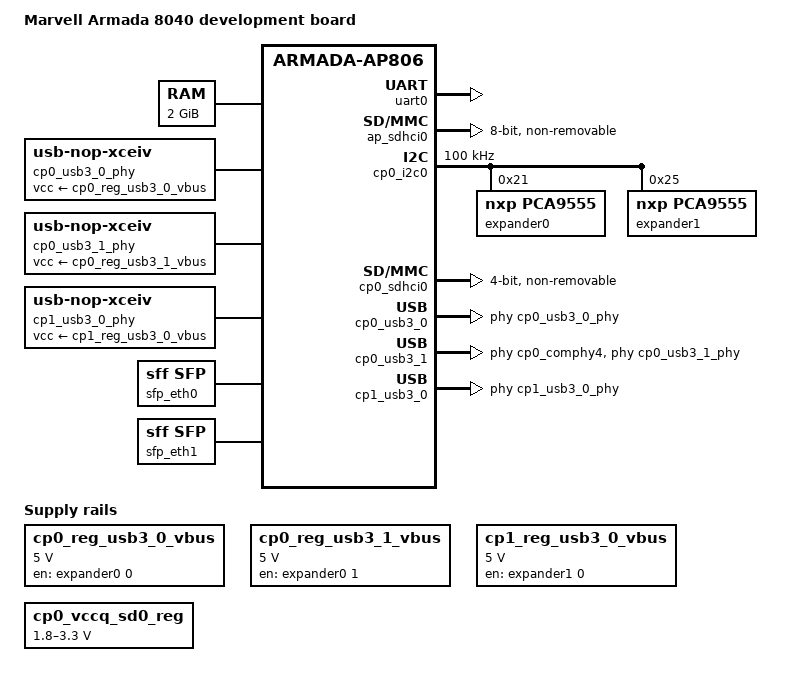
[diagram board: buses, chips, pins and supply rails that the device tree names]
// SPDX-License-Identifier: (GPL-2.0+ OR MIT)
/*
 * Device Tree file for Marvell Armada 8040 development board platform
 */

#include <dt-bindings/gpio/gpio.h>
#include "armada-8040.dtsi"

/ {
	model = "Marvell Armada 8040 development board";
	compatible = "marvell,armada8040-db", "marvell,armada8040",
		"marvell,armada-ap806-quad", "marvell,armada-ap806";

	memory@0 {
		device_type = "memory";
		reg = <0x0 0x0 0x0 0x80000000>;
	};

	cp0_reg_usb3_0_vbus: cp0-usb3-0-vbus {
		compatible = "regulator-fixed";
		regulator-name = "cp0-usb3h0-vbus";
		regulator-min-microvolt = <5000000>;
		regulator-max-microvolt = <5000000>;
		enable-active-high;
		gpio = <&expander0 0 GPIO_ACTIVE_HIGH>;
	};

	cp0_reg_usb3_1_vbus: cp0-usb3-1-vbus {
		compatible = "regulator-fixed";
		regulator-name = "cp0-usb3h1-vbus";
		regulator-min-microvolt = <5000000>;
		regulator-max-microvolt = <5000000>;
		enable-active-high;
		gpio = <&expander0 1 GPIO_ACTIVE_HIGH>;
	};

	cp0_usb3_0_phy: cp0-usb3-0-phy {
		compatible = "usb-nop-xceiv";
		vcc-supply = <&cp0_reg_usb3_0_vbus>;
	};

	cp0_usb3_1_phy: cp0-usb3-1-phy {
		compatible = "usb-nop-xceiv";
		vcc-supply = <&cp0_reg_usb3_1_vbus>;
	};

	cp1_reg_usb3_0_vbus: cp1-usb3-0-vbus {
		compatible = "regulator-fixed";
		regulator-name = "cp1-usb3h0-vbus";
		regulator-min-microvolt = <5000000>;
		regulator-max-microvolt = <5000000>;
		enable-active-high;
		gpio = <&expander1 0 GPIO_ACTIVE_HIGH>;
	};

	cp0_vccq_sd0_reg: cp0_vccq_sd0 {
		compatible = "regulator-gpio";
		regulator-name = "cp0-vccq-sd0";
		regulator-min-microvolt = <1800000>;
		regulator-max-microvolt = <3300000>;
		regulator-boot-on;
		gpios = <&expander0 15 GPIO_ACTIVE_HIGH>;
		gpios-states = <0>;
		states = <1800000 0x1
			  3300000 0x0>;
		enable-active-high;
	};

	cp1_usb3_0_phy: cp1-usb3-0-phy {
		compatible = "usb-nop-xceiv";
		vcc-supply = <&cp1_reg_usb3_0_vbus>;
	};

	sfp_eth0: sfp-eth0 {
		compatible = "sff,sfp";
	};

	sfp_eth1: sfp-eth1 {
		compatible = "sff,sfp";
	};
};

/* Accessible over the mini-USB CON9 connector on the main board */
&uart0 {
	status = "okay";
	pinctrl-0 = <&uart0_pins>;
	pinctrl-names = "default";
};

&ap_sdhci0 {
	bus-width = <8>;
	non-removable;
};

&spi0 {
	status = "disabled";
	spi-flash@0 {
		#address-cells = <0x1>;
		#size-cells = <0x1>;
		compatible = "jedec,spi-nor";
		reg = <0x0>;
		spi-max-frequency = <20000000>;
		partition@0 {
			label = "boot";
			reg = <0x0 0x200000>;
		};
		partition@200000 {
			label = "recovery_image";
			reg = <0x200000 0x200000>;
		};
		partition@400000 {
			label = "Filesystem";
			reg = <0x400000 0xc00000>;
		};
	};
};

&cp0_i2c0 {
	status = "okay";
	clock-frequency = <100000>;

	/* U31 */
	expander0: pca9555@21 {
		compatible = "nxp,pca9555";
		pinctrl-names = "default";
		gpio-controller;
		#gpio-cells = <2>;
		reg = <0x21>;
	};

	/* U25 */
	expander1: pca9555@25 {
		compatible = "nxp,pca9555";
		pinctrl-names = "default";
		gpio-controller;
		#gpio-cells = <2>;
		reg = <0x25>;
	};

};

&cp0_sdhci0 {
	pinctrl-names = "default";
	pinctrl-0 = <&sdhci_pins>;
	bus-width = <4>;
	vqmmc-supply = <&cp0_vccq_sd0_reg>;
	non-removable;
};

/* CON9 on CP0 expansion */
&cp0_usb3_0 {
	usb-phy = <&cp0_usb3_0_phy>;
};

/* CON10 on CP0 expansion */
&cp0_usb3_1 {
	usb-phy = <&cp0_usb3_1_phy>;
	/* Generic PHY, providing serdes lanes */
	phys = <&cp0_comphy4 1>;
	phy-names = "usb";
};

&cp1_spi1 {
	status = "disabled";

	spi-flash@0 {
		#address-cells = <0x1>;
		#size-cells = <0x1>;
		compatible = "jedec,spi-nor";
		reg = <0x0>;
		spi-max-frequency = <20000000>;

		partitions {
			compatible = "fixed-partitions";
			#address-cells = <1>;
			#size-cells = <1>;

			partition@0 {
				label = "Boot";
				reg = <0x0 0x400000>;
			};
			partition@400000 {
				label = "Filesystem";
				reg = <0x400000 0xc00000>;
			};
		};
	};
};

&cp1_nand_controller {
	nand-ecc-strength = <4>;
	nand-ecc-step-size = <512>;
	status = "disabled";
	partition@0 {
		label = "U-Boot";
		reg = <0 0x200000>;
	};
	partition@200000 {
		label = "Linux";
		reg = <0x200000 0xd00000>;
	};
	partition@1000000 {
		label = "Filesystem";
		reg = <0x1000000 0x3f000000>;
	};
};

/* CON9 on CP1 expansion */
&cp1_usb3_0 {
	usb-phy = <&cp1_usb3_0_phy>;
};
